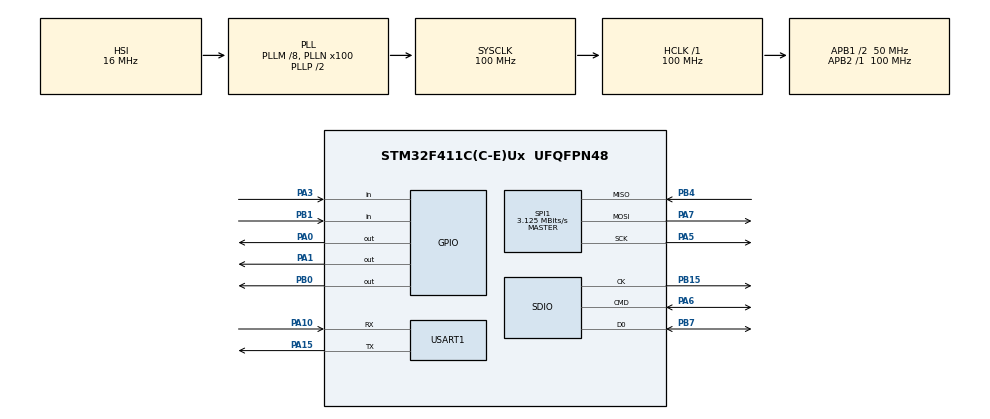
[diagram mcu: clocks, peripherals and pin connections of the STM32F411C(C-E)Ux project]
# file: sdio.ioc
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Dma.Request0=USART1_RX
Dma.Request1=SDIO_RX
Dma.Request2=SDIO_TX
Dma.SDIO_RX.1.Direction=DMA_PERIPH_TO_MEMORY
Dma.SDIO_RX.1.FIFOMode=DMA_FIFOMODE_ENABLE
Dma.SDIO_RX.1.FIFOThreshold=DMA_FIFO_THRESHOLD_FULL
Dma.SDIO_RX.1.Instance=DMA2_Stream3
Dma.SDIO_RX.1.MemBurst=DMA_MBURST_INC4
Dma.SDIO_RX.1.MemDataAlignment=DMA_MDATAALIGN_WORD
Dma.SDIO_RX.1.MemInc=DMA_MINC_ENABLE
Dma.SDIO_RX.1.Mode=DMA_PFCTRL
Dma.SDIO_RX.1.PeriphBurst=DMA_PBURST_INC4
Dma.SDIO_RX.1.PeriphDataAlignment=DMA_PDATAALIGN_WORD
Dma.SDIO_RX.1.PeriphInc=DMA_PINC_DISABLE
Dma.SDIO_RX.1.Priority=DMA_PRIORITY_LOW
Dma.SDIO_TX.2.Direction=DMA_MEMORY_TO_PERIPH
Dma.SDIO_TX.2.FIFOMode=DMA_FIFOMODE_ENABLE
Dma.SDIO_TX.2.FIFOThreshold=DMA_FIFO_THRESHOLD_FULL
Dma.SDIO_TX.2.Instance=DMA2_Stream6
Dma.SDIO_TX.2.MemBurst=DMA_MBURST_INC4
Dma.SDIO_TX.2.MemDataAlignment=DMA_MDATAALIGN_WORD
Dma.SDIO_TX.2.MemInc=DMA_MINC_ENABLE
Dma.SDIO_TX.2.Mode=DMA_PFCTRL
Dma.SDIO_TX.2.PeriphBurst=DMA_PBURST_INC4
Dma.SDIO_TX.2.PeriphDataAlignment=DMA_PDATAALIGN_WORD
Dma.SDIO_TX.2.PeriphInc=DMA_PINC_DISABLE
Dma.SDIO_TX.2.Priority=DMA_PRIORITY_LOW
Dma.USART1_RX.0.Direction=DMA_PERIPH_TO_MEMORY
Dma.USART1_RX.0.FIFOMode=DMA_FIFOMODE_DISABLE
Dma.USART1_RX.0.Instance=DMA2_Stream2
Dma.USART1_RX.0.MemDataAlignment=DMA_MDATAALIGN_BYTE
Dma.USART1_RX.0.MemInc=DMA_MINC_ENABLE
Dma.USART1_RX.0.Mode=DMA_CIRCULAR
Dma.USART1_RX.0.PeriphDataAlignment=DMA_PDATAALIGN_BYTE
Dma.USART1_RX.0.PeriphInc=DMA_PINC_DISABLE
Dma.USART1_RX.0.Priority=DMA_PRIORITY_LOW
FATFS.BSP.number=1
FATFS.USE_DMA_CODE_SD=1
FATFS._USE_LFN=1
FATFS0.BSP.STBoard=false
FATFS0.BSP.api=Unknown
FATFS0.BSP.instance=PA3
FATFS0.BSP.ip=GPIO
FATFS0.BSP.mode=Input
FATFS0.BSP.name=Detect_SDIO
FATFS0.BSP.solution=PA3
Mcu.Family=STM32F4
Mcu.Name=STM32F411C(C-E)Ux
Mcu.Package=UFQFPN48
NVIC.DMA2_Stream2_IRQn=true\:0\:0\:false\:false\:true\:false\:true\:true
NVIC.DMA2_Stream3_IRQn=true\:0\:0\:false\:false\:true\:false\:true\:true
NVIC.DMA2_Stream6_IRQn=true\:0\:0\:false\:false\:true\:false\:true\:true
NVIC.PriorityGroup=NVIC_PRIORITYGROUP_4
NVIC.SDIO_IRQn=true\:0\:0\:false\:false\:true\:true\:true\:true
PA0-WKUP.GPIO_Speed=GPIO_SPEED_FREQ_LOW
PA0-WKUP.PinState=GPIO_PIN_SET
PA0-WKUP.Signal=GPIO_Output
PA1.GPIO_Speed=GPIO_SPEED_FREQ_LOW
PA1.Signal=GPIO_Output
PA10.Mode=Asynchronous
PA10.Signal=USART1_RX
PA13.Mode=Serial_Wire
PA13.Signal=SYS_JTMS-SWDIO
PA14.Mode=Serial_Wire
PA14.Signal=SYS_JTCK-SWCLK
PA15.Mode=Asynchronous
PA15.Signal=USART1_TX
PA3.Signal=GPIO_Input
PA5.Mode=Full_Duplex_Master
PA5.Signal=SPI1_SCK
PA6.GPIO_PuPd=GPIO_PULLUP
PA6.GPIO_Speed_High_Default=GPIO_SPEED_FREQ_LOW
PA6.Mode=SD_1_bit
PA6.Signal=SDIO_CMD
PA7.Mode=Full_Duplex_Master
PA7.Signal=SPI1_MOSI
PB0.GPIO_Speed=GPIO_SPEED_FREQ_LOW
PB0.PinState=GPIO_PIN_SET
PB0.Signal=GPIO_Output
PB1.Signal=GPIO_Input
PB15.GPIO_PuPd=GPIO_PULLUP
PB15.GPIO_Speed_High_Default=GPIO_SPEED_FREQ_LOW
PB15.Mode=SD_1_bit
PB15.Signal=SDIO_CK
PB4.Mode=Full_Duplex_Master
PB4.Signal=SPI1_MISO
PB7.GPIO_PuPd=GPIO_PULLUP
PB7.GPIO_Speed_High_Default=GPIO_SPEED_FREQ_LOW
PB7.Mode=SD_1_bit
PB7.Signal=SDIO_D0
PH0\ -\ OSC_IN.Mode=HSE-External-Oscillator
PH0\ -\ OSC_IN.Signal=RCC_OSC_IN
PH1\ -\ OSC_OUT.Mode=HSE-External-Oscillator
PH1\ -\ OSC_OUT.Signal=RCC_OSC_OUT
ProjectManager.HeapSize=0x200
ProjectManager.StackSize=0x400
ProjectManager.TargetToolchain=STM32CubeIDE
RCC.48MHZClocksFreq_Value=40000000
RCC.AHBFreq_Value=100000000
RCC.APB1CLKDivider=RCC_HCLK_DIV2
RCC.APB1Freq_Value=50000000
RCC.APB1TimFreq_Value=100000000
RCC.APB2Freq_Value=100000000
RCC.APB2TimFreq_Value=100000000
RCC.CortexFreq_Value=100000000
RCC.HCLKFreq_Value=100000000
RCC.HSE_VALUE=25000000
RCC.HSI_VALUE=16000000
RCC.LSE_VALUE=32768
RCC.PLLM=8
RCC.PLLN=100
RCC.PLLQ=5
RCC.SYSCLKFreq_VALUE=100000000
RCC.SYSCLKSource=RCC_SYSCLKSOURCE_PLLCLK
RCC.VCOOutputFreq_Value=200000000
SDIO.ClockDiv=0
SPI1.BaudRatePrescaler=SPI_BAUDRATEPRESCALER_32
SPI1.CalculateBaudRate=3.125 MBits/s
SPI1.Direction=SPI_DIRECTION_2LINES
SPI1.Mode=SPI_MODE_MASTER
SPI1.VirtualType=VM_MASTER
USART1.VirtualMode=VM_ASYNC
VP_FATFS_VS_SDIO.Mode=SDIO
board=custom

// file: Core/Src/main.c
/* USER CODE BEGIN Header */
/**
  ******************************************************************************
  * @file           : main.c
  * @brief          : Main program body
  ******************************************************************************
  * @attention
  *
  * Copyright (c) 2024 STMicroelectronics.
  * All rights reserved.
  *
  * This software is licensed under terms that can be found in the LICENSE file
  * in the root directory of this software component.
  * If no LICENSE file comes with this software, it is provided AS-IS.
  *
  ******************************************************************************
  */
/* USER CODE END Header */
#include "main.h"
#include "dma.h"
#include "fatfs.h"
#include "sdio.h"
#include "spi.h"
#include "usart.h"
#include "gpio.h"

/* USER CODE BEGIN Includes */
#include <string.h>
#include <stdio.h>
#include <stdarg.h>
#include <stdint.h>
#include <stdbool.h>
/* USER CODE END Includes */

/* USER CODE BEGIN PTD */
typedef enum{
	SD_READ=0,
	SD_WRITE,
	SD_NEW_WRITE
}
SD_RW_MODE;

typedef struct{
	uint8_t file_number;
	uint8_t file_name[256 + 3];
}sd_file_info;

/* USER CODE END PTD */

/* USER CODE BEGIN PD */
#define	XCS_OFF HAL_GPIO_WritePin(GPIOB, GPIO_PIN_0, GPIO_PIN_SET)
#define	XRST_OFF HAL_GPIO_WritePin(GPIOA, GPIO_PIN_1, GPIO_PIN_SET)
#define	XDCS_OFF HAL_GPIO_WritePin(GPIOA, GPIO_PIN_0, GPIO_PIN_SET)

#define	XCS_ON HAL_GPIO_WritePin(GPIOB, GPIO_PIN_0, GPIO_PIN_RESET)
#define	XRST_ON HAL_GPIO_WritePin(GPIOA, GPIO_PIN_1, GPIO_PIN_RESET)
#define	XDCS_ON HAL_GPIO_WritePin(GPIOA, GPIO_PIN_0, GPIO_PIN_RESET)

#define DREQ_VAL HAL_GPIO_ReadPin(GPIOB,GPIO_PIN_1)

#define READ_VS1003_REG 0b11
#define WRITE_VS1003_REG 0b10

#define VS1003_MODE_REG 0x00
#define VS1003_CLOCKF_REG 0x03
#define VS1003_AUDATA_REG 0x05
#define VS1003_VOL_REG 0x0b
#define VS1003_DECODE_TIME 0x04

#define mp3_64kbps_stereo_sampling_rate 22000
#define mp3_64kbps_mono_sampling_rate 24000

/*
 * pb0 xcs
 * pb1 dreq
 * pa1 xrst
 * pa0 xdcs
 * */

/* USER CODE END PD */

/* USER CODE BEGIN PV */
uint8_t uart_rx_data;
uint8_t sd_buf[32];
uint16_t current_vol = 0x4141;

uint8_t file_name[259];

bool loop_flag = true;
bool stop_mp3 = false;

uint8_t sd_file_max_num;
sd_file_info sd_file[256];
uint8_t current_sd_file_num;
/* USER CODE END PV */

void SystemClock_Config(void);
/* USER CODE BEGIN PFP */

//vs1003_control
uint16_t SCI_Read(uint8_t add);
void SCI_Write(uint8_t add,uint16_t write_val);
void vs1003_init();
void decoder_control();

//sd_control
void sd_user(SD_RW_MODE SD_RW,char file_derectory[]);
void SD_file_info();

//uart_control
void uart_send(uint8_t uart_num,char *fmt,...);

void HAL_UART_RxCpltCallback(UART_HandleTypeDef *huart)
{
	if(huart->Instance==USART1){
		HAL_UART_Receive_DMA(&huart1, &uart_rx_data, 1);
		if(uart_rx_data=='r'||
			 uart_rx_data=='1'||
			 uart_rx_data=='2'||
			 uart_rx_data=='3'||
			 uart_rx_data=='n'){

		if(uart_rx_data=='1' && strcmp((char *)file_name,"0:/a.mp3")==0){
			uart_send(1,"already in this song!.\n",current_vol);
			return;
		}
		else if(uart_rx_data=='2' && strcmp((char *)file_name,"0:/b.mp3")==0){
			uart_send(1,"already in this song!.\n",current_vol);
			return;
		}
		else if(uart_rx_data=='3' && strcmp((char *)file_name,"0:/c.mp3")==0){
			uart_send(1,"already in this song!.\n",current_vol);
			return;
		}
			loop_flag = false;
		}
		else if(uart_rx_data == 'i'){
			uart_rx_data = 0;
			for(uint8_t i=1;i<=sd_file_max_num;i++){
				uart_send(1,"%d.%s\n",i,sd_file[i].file_name);
			}
		}
		else if(uart_rx_data == ' '){
			stop_mp3 = (stop_mp3+1)%2;
			if(stop_mp3){
				uart_send(1,"stop.\n",current_vol);
			}
			else{
				uart_send(1,"resume.\n",current_vol);
			}
		}
		else if(uart_rx_data == '+'){
			if(current_vol-0x0101>=0){
				current_vol-=0x0101;
				uart_send(1,"%d%%vol_plus\n",(current_vol*100)/0xFEFE);
			}
			SCI_Write(VS1003_VOL_REG,current_vol);
		}
		else if(uart_rx_data == '-'){
			if(current_vol+0x0101<=0xfefe){
				current_vol+=0x0101;
				uart_send(1,"%d%%vol_minus\n",(current_vol*100)/0xFEFE);
			}
			SCI_Write(VS1003_VOL_REG,current_vol);
		}
	}
  UNUSED(huart);
}

void uart_send(uint8_t uart_num,char *fmt,...){
	uint8_t uart_send_data[48];
	memset(uart_send_data,0,48);
	va_list arg;
	va_start(arg,fmt);
	vsnprintf((char *)uart_send_data,48,fmt,arg);
	if(uart_num==1){
		HAL_UART_Transmit(&huart1, uart_send_data, 48, 10);
	}
	va_end(arg);
}

uint16_t SCI_Read(uint8_t add){
	uint16_t ret;
	uint8_t tx_data;
	uint8_t rx_data;
	while (DREQ_VAL == GPIO_PIN_RESET);

	XCS_ON;
	XDCS_OFF;

	tx_data = READ_VS1003_REG;
	HAL_SPI_Transmit(&hspi1, &tx_data, 1, 10);

	tx_data = add;
	HAL_SPI_Transmit(&hspi1, &tx_data, 1, 10);

	HAL_SPI_Receive(&hspi1, &rx_data, 1, 10);
	ret = rx_data<<8;

	HAL_SPI_Receive(&hspi1, &rx_data, 1, 10);
	ret |= rx_data;

	XCS_OFF;

	return ret;
}

void SCI_Write(uint8_t add,uint16_t write_val){
	uint8_t tx_data;
	while (DREQ_VAL == GPIO_PIN_RESET);

	XCS_ON;
	XDCS_OFF;

	tx_data = WRITE_VS1003_REG;
	HAL_SPI_Transmit(&hspi1, &tx_data, 1, 10);

	tx_data = add;
	HAL_SPI_Transmit(&hspi1, &tx_data, 1, 10);

	tx_data = write_val>>8;
	HAL_SPI_Transmit(&hspi1, &tx_data, 1, 10);

	tx_data = write_val;
	HAL_SPI_Transmit(&hspi1, &tx_data, 1, 10);

	XCS_OFF;

}

void SDI_Send(uint8_t *MP3_Data,size_t MP3_Len){
	XDCS_ON;
	for(uint8_t i=0;i<MP3_Len;i++){
		HAL_SPI_Transmit(&hspi1,&MP3_Data[i],1,10);
	}
	XDCS_OFF;
}

void vs1003_init(){
	XRST_ON;
	HAL_Delay(1);
	XRST_OFF;
	XCS_OFF;
	XDCS_OFF;
	uint16_t _16_data;
	uint8_t retry = 0;
  while(1){
  	_16_data = SCI_Read(VS1003_MODE_REG);
  	SCI_Write(VS1003_MODE_REG,0x0804);
  	if(_16_data==0x800 || retry++>=100){
  		uart_send(1,"ADD_MODE : 0x%04X\n",_16_data);
  		break;
  	}
  }

  _16_data = 0;
  retry = 0;
  while(1){
    _16_data = SCI_Read(VS1003_CLOCKF_REG);
    SCI_Write(VS1003_CLOCKF_REG,0x9BE8);
    if(_16_data==0x9BE8 || retry++>=100){
    	uart_send(1,"ADD_CLOCKF : 0x%04X\n",_16_data);
    	break;
   	}
  }

  _16_data = 0;
  retry = 0;
  while(1){
    _16_data = SCI_Read(VS1003_AUDATA_REG);
    SCI_Write(VS1003_AUDATA_REG,mp3_64kbps_stereo_sampling_rate);
    if(_16_data==mp3_64kbps_stereo_sampling_rate || retry++>=100){
    	uart_send(1,"ADD_AUDATA : 0x%04X\n",_16_data);
    	break;
   	}
  }

  _16_data = 0;
  retry = 0;
  while(1){
    _16_data = SCI_Read(VS1003_VOL_REG);
    SCI_Write(VS1003_VOL_REG,current_vol);
    if(_16_data==current_vol || retry++>=100){
    	uart_send(1,"ADD_VOL : 0x%04X\n",_16_data);
    	break;
   	}
  }

  _16_data = 0;
  retry = 0;
  while(1){
    _16_data = SCI_Read(VS1003_DECODE_TIME);
    SCI_Write(VS1003_DECODE_TIME,0x0000);
    if(_16_data==0x0000 || retry++>=100){
    	uart_send(1,"ADD_DECODE_TIME : 0x%04X\n",_16_data);
    	break;
   	}
  }
}

void SD_file_info(){
	DIR dp;
	FILINFO fno;
	bool do_flag = false;
	uint8_t i = 0;
	sd_file_max_num = 0;
	current_sd_file_num = 0;

	if(f_opendir(&dp, "0:/")==FR_OK){
		do_flag = true;
	}
	while(do_flag){
		f_readdir(&dp, &fno);
		if(dp.sect==0){
			uart_send(1,"complete\n");
			sd_file_max_num = i-1;
			break;
		}
		else{
			sd_file[i].file_number = i;
			sprintf((char *)sd_file[i].file_name,"0:/%s",(char *)fno.fname);
			i++;
		}
	}
}
void decoder_control(){
	if(uart_rx_data=='r'||
		 uart_rx_data=='1'||
		 uart_rx_data=='2'||
		 uart_rx_data=='3'||
		 uart_rx_data=='n'){
		switch (uart_rx_data){
		case '1':
			current_sd_file_num = 1;
		  sprintf((char *)file_name, "0:/a.mp3");
		  break;
		case '2':
			current_sd_file_num = 2;
		  sprintf((char *)file_name, "0:/b.mp3");
		  break;
		case '3':
			current_sd_file_num = 3;
		  sprintf((char *)file_name, "0:/c.mp3");
		  break;
		case 'n':
			if(current_sd_file_num++>=sd_file_max_num){
				current_sd_file_num = 1;
			}
			sprintf((char *)file_name, "%s",(char *)sd_file[current_sd_file_num].file_name);
			break;
		}
		uart_send(1,"you are in %d.\n",current_sd_file_num);
		loop_flag=true;
		uart_rx_data = 0;
		sd_user(SD_READ,(char *)file_name);
	}
}

void sd_user(SD_RW_MODE SD_RW,char file_derectory[]){
	UINT byte;
	uint32_t total_byte = 0;
  if(SD_RW==SD_READ){
  	if(f_open(&SDFile,(const TCHAR*)file_derectory,FA_OPEN_EXISTING|FA_READ)==FR_OK){
  		while(loop_flag){
  			f_read(&SDFile, sd_buf, 32, &byte);
  			total_byte+=byte;
  			while(DREQ_VAL==GPIO_PIN_RESET);
  			SDI_Send(sd_buf,32);
  			while(stop_mp3);
  			if(byte < 32){
  				loop_flag=false;
  			}
  		}
  	}
  	else{
  		uart_send(1,"error\n");
  	}
  }
  else if(SD_RW==SD_WRITE){
  	if(f_open(&SDFile,(const TCHAR*)file_derectory,FA_OPEN_EXISTING|FA_WRITE)==FR_OK){
    	f_read(&SDFile, sd_buf, 32, &byte);
    	uart_send(1,"\n%d byte read!\n",byte);
    }
    else{
    	uart_send(1,"error\n");
    }
  }
  else if(SD_RW==SD_NEW_WRITE){
    if(f_open(&SDFile,(const TCHAR*)file_derectory,FA_CREATE_NEW|FA_WRITE)==FR_OK){
     	f_read(&SDFile, sd_buf, 32, &byte);
     	uart_send(1,"\n%d byte read!\n",byte);
    }
     else{
     	uart_send(1,"error\n");
    }
  }
  uart_send(1,"total_byte : %d\n",total_byte);
  f_close(&SDFile);
}

/* USER CODE END PFP */

int main(void)
{

  /* MCU Configuration--------------------------------------------------------*/

  /* Reset of all peripherals, Initializes the Flash interface and the Systick. */
  HAL_Init();

  /* Configure the system clock */
  SystemClock_Config();

  /* Initialize all configured peripherals */
  MX_GPIO_Init();
  MX_DMA_Init();
  MX_USART1_UART_Init();
  MX_SDIO_SD_Init();
  MX_FATFS_Init();
  MX_SPI1_Init();
  /* USER CODE BEGIN 2 */
  vs1003_init();
  UART_Start_Receive_DMA(&huart1, &uart_rx_data, 1);
  retSD = f_mount(&SDFatFS,(TCHAR const*)&SDPath[0],1);
  if(retSD==FR_OK){
    	uart_send(1,"f_mount ture!\n");
    }
  else{
    uart_send(1,"mount false error code : %d\n",retSD);
  }
  SD_file_info();
  /* USER CODE END 2 */

  /* Infinite loop */
  /* USER CODE BEGIN WHILE */
  while (1)
  {
		decoder_control();
    /* USER CODE END WHILE */

  }
}

void SystemClock_Config(void)
{
  RCC_OscInitTypeDef RCC_OscInitStruct = {0};
  RCC_ClkInitTypeDef RCC_ClkInitStruct = {0};

  /** Configure the main internal regulator output voltage
  */
  __HAL_RCC_PWR_CLK_ENABLE();
  __HAL_PWR_VOLTAGESCALING_CONFIG(PWR_REGULATOR_VOLTAGE_SCALE1);

  /** Initializes the RCC Oscillators according to the specified parameters
  * in the RCC_OscInitTypeDef structure.
  */
  RCC_OscInitStruct.OscillatorType = RCC_OSCILLATORTYPE_HSI;
  RCC_OscInitStruct.HSIState = RCC_HSI_ON;
  RCC_OscInitStruct.HSICalibrationValue = RCC_HSICALIBRATION_DEFAULT;
  RCC_OscInitStruct.PLL.PLLState = RCC_PLL_ON;
  RCC_OscInitStruct.PLL.PLLSource = RCC_PLLSOURCE_HSI;
  RCC_OscInitStruct.PLL.PLLM = 8;
  RCC_OscInitStruct.PLL.PLLN = 100;
  RCC_OscInitStruct.PLL.PLLP = RCC_PLLP_DIV2;
  RCC_OscInitStruct.PLL.PLLQ = 5;
  if (HAL_RCC_OscConfig(&RCC_OscInitStruct) != HAL_OK)
  {
    Error_Handler();
  }

  /** Initializes the CPU, AHB and APB buses clocks
  */
  RCC_ClkInitStruct.ClockType = RCC_CLOCKTYPE_HCLK|RCC_CLOCKTYPE_SYSCLK
                              |RCC_CLOCKTYPE_PCLK1|RCC_CLOCKTYPE_PCLK2;
  RCC_ClkInitStruct.SYSCLKSource = RCC_SYSCLKSOURCE_PLLCLK;
  RCC_ClkInitStruct.AHBCLKDivider = RCC_SYSCLK_DIV1;
  RCC_ClkInitStruct.APB1CLKDivider = RCC_HCLK_DIV2;
  RCC_ClkInitStruct.APB2CLKDivider = RCC_HCLK_DIV1;

  if (HAL_RCC_ClockConfig(&RCC_ClkInitStruct, FLASH_LATENCY_3) != HAL_OK)
  {
    Error_Handler();
  }
}

void Error_Handler(void)
{
  __disable_irq();
  while (1)
  {
  }
}
